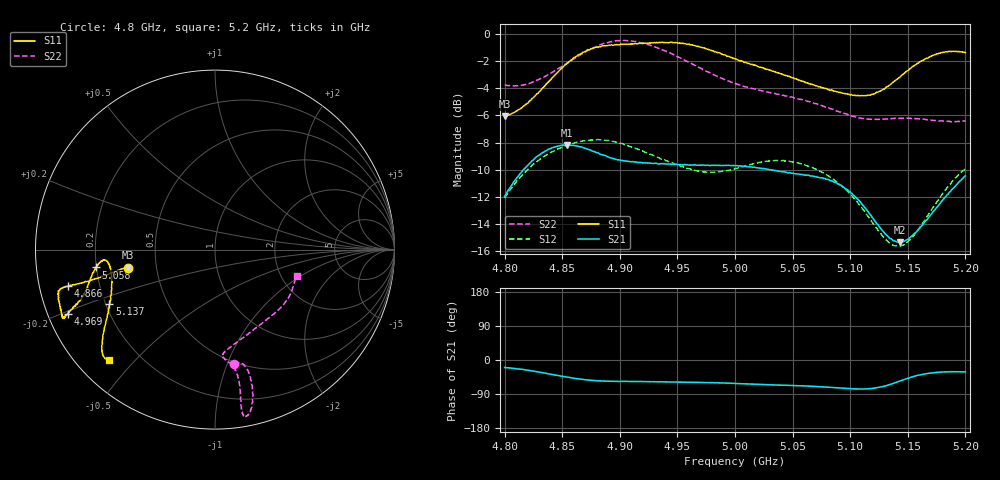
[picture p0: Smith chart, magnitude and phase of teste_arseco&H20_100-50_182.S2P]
! Network Analyzer HP8722D
! Hewlett-Packard
! Data name: Linha & Wilkinson
! Saver's name: Rodrigo Anjos
! Comments: Teste da utilização de aquisição
! continua pelo VNA HP8722D
! Time and date: 6/5/2025 14:05
!  Frequency  S11  S21  S12  S22
# HZ  S  MA R 50
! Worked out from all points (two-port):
!   401 points, 4.8 GHz to 5.2 GHz, reference 50 ohm
!   highest |S21| = -8.17 dB at 4.854 GHz (marker M1); lowest = -15.3 dB at 5.143 GHz (marker M2)
!   |S21| within 3 dB of the highest: 4.806 GHz to 5.093 GHz (286.7 MHz wide, 5.79 % of centre); 5.191468 GHz to end of sweep
!   lowest |S11| = -6.1 dB at 4.8 GHz (marker M3), VSWR 2.98, Z = 16.9 - j4.57 ohm
!   |S11| at or under -10 dB: nowhere
!   |S22| runs from -6.5 to -0.5 dB; largest |S21 - S12| = 0.62
!   S11 on the Smith chart (normalised r, x): 4.8 GHz: 0.34, -0.09; 4.866 GHz: 0.09, -0.12; 4.969 GHz: 0.06, -0.21; 5.058 GHz: 0.20, -0.07; 5.137 GHz: 0.21, -0.23; 5.2 GHz: 0.09, -0.42
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4.8e9  0.4978 -168.2  0.2525 -19.9  0.2492 -141.0  0.6475 -80.4
4.828e9  0.6014 -167.2  0.3542 -30.8  0.3387 -145.1  0.674 -75.4
4.854e9  0.7775 -166.0  0.3904 -45.2  0.3889 -150.0  0.7788 -74.7
4.866e9  0.8431 -166.1  0.3838 -50.6  0.402 -152.0  0.838 -75.4
4.867e9  0.8489 -166.0  0.3835 -51.0  0.4028 -152.2  0.8422 -75.4
4.898e9  0.9126 -163.3  0.3442 -56.4  0.3976 -156.6  0.9433 -78.9
4.914e9  0.9206 -159.8  0.338 -56.6  0.3784 -157.2  0.9373 -80.3
4.934e9  0.9292 -156.6  0.3321 -57.6  0.3505 -155.8  0.8824 -80.5
4.969e9  0.8954 -156.5  0.3284 -59.0  0.3127 -147.4  0.7513 -79.7
5e9  0.8092 -159.2  0.3276 -61.9  0.3196 -137.4  0.6563 -81.4
5.035e9  0.7241 -165.5  0.3146 -66.0  0.3424 -134.4  0.6024 -85.6
5.058e9  0.6704 -171.5  0.3039 -68.3  0.3313 -136.2  0.5733 -84.5
5.067e9  0.6519 -173.2  0.3003 -69.3  0.3228 -136.8  0.5587 -82.6
5.082e9  0.6208 -174.7  0.2902 -72.1  0.2988 -138.4  0.532 -77.2
5.1e9  0.5959 -172.4  0.262 -75.7  0.2578 -138.9  0.5023 -67.1
5.116e9  0.5957 -165.5  0.2204 -75.9  0.212 -135.5  0.4854 -55.8
5.134e9  0.6462 -154.2  0.1776 -65.2  0.1705 -120.6  0.4877 -43.2
5.137e9  0.6622 -152.6  0.1741 -62.1  0.1675 -116.8  0.489 -41.5
5.143e9  0.6919 -149.3  0.1714 -55.7  0.166 -108.9  0.4892 -38.1
5.154e9  0.7575 -144.6  0.1816 -44.3  0.1793 -95.1  0.4889 -32.3
5.174e9  0.8394 -138.7  0.2271 -32.9  0.2366 -80.4  0.48 -23.9
5.2e9  0.8524 -133.8  0.3006 -31.5  0.3199 -77.0  0.4783 -17.6
